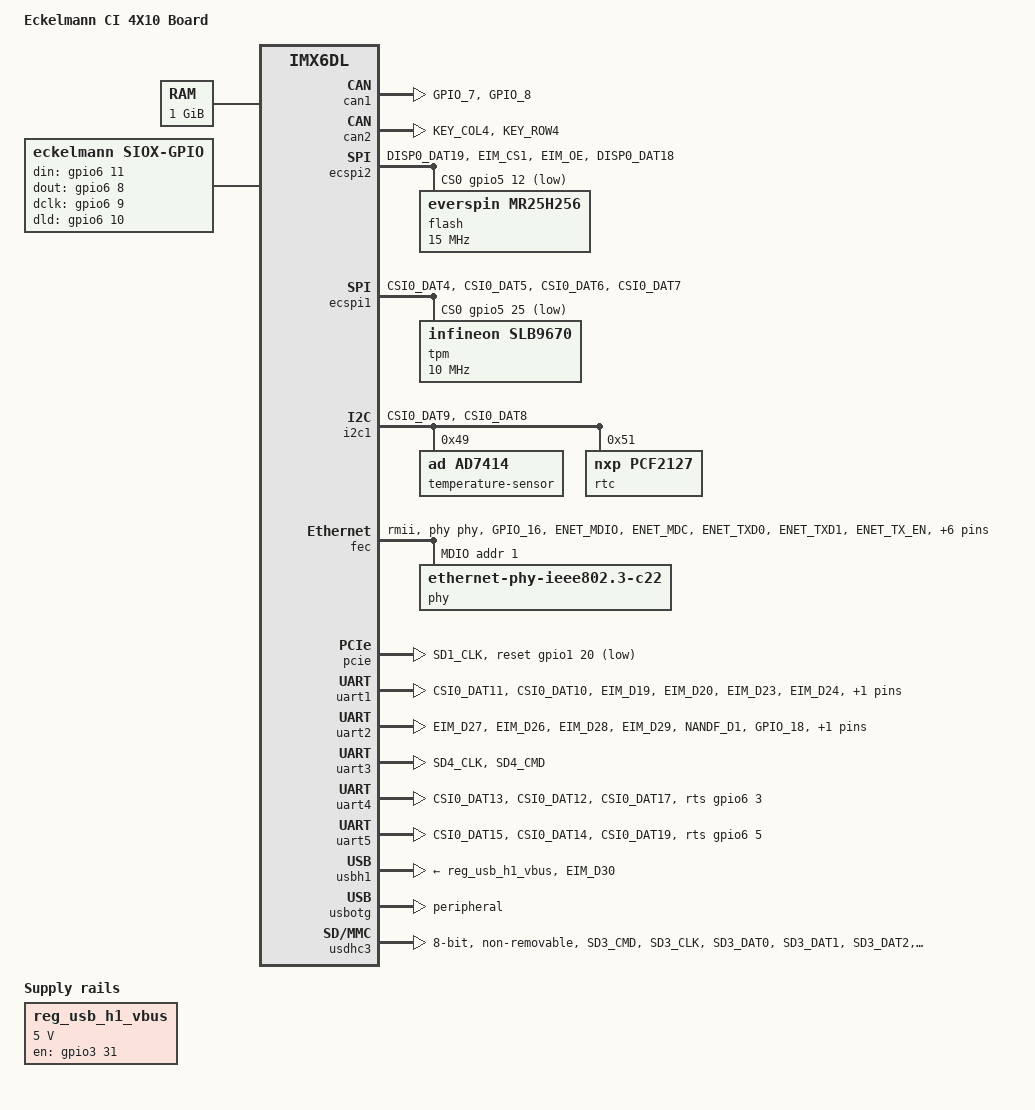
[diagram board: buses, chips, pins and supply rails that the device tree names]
// SPDX-License-Identifier: GPL-2.0
/*
 * Copyright (C) 2016 Eckelmann AG.
 * Copyright (C) 2013 Freescale Semiconductor, Inc.
 */

/dts-v1/;

#include <dt-bindings/gpio/gpio.h>

#include "imx6dl.dtsi"

/ {
	model = "Eckelmann CI 4X10 Board";
	compatible = "eckelmann,imx6dl-ci4x10", "fsl,imx6dl";

	chosen {
		stdout-path = &uart3;
	};

	memory@10000000 {
		device_type = "memory";
		reg = <0x10000000 0x40000000>;
	};

	rmii_clk: clock-rmii {
		/* This clock is provided by the phy (KSZ8091RNB) */
		compatible = "fixed-clock";
		#clock-cells = <0>;
		clock-frequency = <50000000>;
		clock-output-names = "enet_ref_pad";
	};

	reg_usb_h1_vbus: regulator-usb-h1-vbus {
		pinctrl-names = "default";
		pinctrl-0 = <&pinctrl_reg_usb_h1_vbus>;
		compatible = "regulator-fixed";
		regulator-name = "usb_h1_vbus";
		regulator-min-microvolt = <5000000>;
		regulator-max-microvolt = <5000000>;
		gpio = <&gpio3 31 GPIO_ACTIVE_HIGH>;
		enable-active-high;
	};

	siox {
		compatible = "eckelmann,siox-gpio";
		pinctrl-names = "default";
		pinctrl-0 = <&pinctrl_siox>;
		din-gpios = <&gpio6 11 GPIO_ACTIVE_HIGH>;
		dout-gpios = <&gpio6 8 GPIO_ACTIVE_HIGH>;
		dclk-gpios = <&gpio6 9 GPIO_ACTIVE_HIGH>;
		dld-gpios = <&gpio6 10 GPIO_ACTIVE_HIGH>;
	};
};

&can1 {
	pinctrl-names = "default";
	pinctrl-0 = <&pinctrl_flexcan1>;
	status = "okay";
};

&can2 {
	pinctrl-names = "default";
	pinctrl-0 = <&pinctrl_flexcan2>;
	status = "okay";
};

&clks {
	clocks = <&rmii_clk>;
	clock-names = "enet_ref_pad";
	assigned-clocks = <&clks IMX6QDL_CLK_ENET_REF_SEL>;
	assigned-clock-parents = <&rmii_clk>;
};

&ecspi2 {
	pinctrl-names = "default";
	pinctrl-0 = <&pinctrl_ecspi2>;
	cs-gpios = <&gpio5 12 GPIO_ACTIVE_LOW>;
	status = "okay";

	flash@0 {
		compatible = "everspin,mr25h256";
		reg = <0>;
		spi-max-frequency = <15000000>;
	};
};

&ecspi1 {
	pinctrl-names = "default";
	pinctrl-0 = <&pinctrl_ecspi1>;
	cs-gpios = <&gpio5 25 GPIO_ACTIVE_LOW>;
	status = "okay";

	tpm@0 {
		compatible = "infineon,slb9670", "tcg,tpm_tis-spi";
		reg = <0>;
		spi-max-frequency = <10000000>;
	};
};

&gpio2 {
	gpio-line-names = "buzzer", "", "", "", "", "", "", "",
			  "", "", "", "", "", "", "", "",
			  "", "", "", "", "", "", "", "",
			  "", "", "", "", "", "", "", "";
};

&gpio4 {
	gpio-line-names = "", "", "", "", "", "", "", "in2",
			  "prio2", "prio1", "aux", "", "", "", "", "",
			  "", "", "", "", "", "", "", "",
			  "", "", "", "", "", "", "", "";
};

&gpio6 {
	gpio-line-names = "", "", "", "", "", "", "", "",
			  "", "", "", "", "", "", "", "in1",
			  "", "", "", "", "", "", "", "",
			  "", "", "", "", "", "", "", "";
};

&i2c1 {
	pinctrl-names = "default";
	pinctrl-0 = <&pinctrl_i2c1>;
	status = "okay";

	temperature-sensor@49 {
		compatible = "ad,ad7414";
		reg = <0x49>;
	};

	rtc@51 {
		compatible = "nxp,pcf2127";
		reg = <0x51>;
	};
};

&iomuxc {
	pinctrl-names = "default";
	pinctrl-0 = <&pinctrl_hog>;

	pinctrl_hog: hog {
		fsl,pins = <
			MX6QDL_PAD_NANDF_D0__GPIO2_IO00		0x00000018 /* buzzer */
			MX6QDL_PAD_KEY_COL1__GPIO4_IO08		0x00000018 /* OUT_1 */
			MX6QDL_PAD_KEY_ROW1__GPIO4_IO09		0x00000018 /* OUT_2 */
			MX6QDL_PAD_KEY_COL2__GPIO4_IO10		0x00000018 /* OUT_3 */
			MX6QDL_PAD_NANDF_CS2__GPIO6_IO15	0x00000000 /* In1 */
			MX6QDL_PAD_KEY_ROW0__GPIO4_IO07		0x00000000 /* In2 */
			MX6QDL_PAD_GPIO_9__GPIO1_IO09		0x00000018 /* unused watchdog pin */
			MX6QDL_PAD_SD1_DAT2__GPIO1_IO19		0x00000018 /* unused watchdog pin */

		>;
	};

	pinctrl_ecspi1: ecspi1grp {
		fsl,pins = <
			MX6QDL_PAD_CSI0_DAT4__ECSPI1_SCLK 	0x000100a0
			MX6QDL_PAD_CSI0_DAT5__ECSPI1_MOSI	0x000100a0
			MX6QDL_PAD_CSI0_DAT6__ECSPI1_MISO	0x000100a0
			MX6QDL_PAD_CSI0_DAT7__GPIO5_IO25	0x000100a0
		>;
	};

	pinctrl_ecspi2: ecspi2grp {
		fsl,pins = <
			MX6QDL_PAD_DISP0_DAT19__ECSPI2_SCLK	0x000100b1
			MX6QDL_PAD_EIM_CS1__ECSPI2_MOSI		0x000100b1
			MX6QDL_PAD_EIM_OE__ECSPI2_MISO		0x000100b1
			MX6QDL_PAD_DISP0_DAT18__GPIO5_IO12	0x000100b1
		>;
	};

	pinctrl_enet: enetgrp {
		fsl,pins = <
			MX6QDL_PAD_GPIO_16__ENET_REF_CLK	0x4001b0a8
			MX6QDL_PAD_ENET_MDIO__ENET_MDIO		0x0001b098
			MX6QDL_PAD_ENET_MDC__ENET_MDC		0x0001b098
			MX6QDL_PAD_ENET_TXD0__ENET_TX_DATA0	0x0001b098
			MX6QDL_PAD_ENET_TXD1__ENET_TX_DATA1	0x0001b098
			MX6QDL_PAD_ENET_TX_EN__ENET_TX_EN	0x0001b098
			MX6QDL_PAD_ENET_RX_ER__ENET_RX_ER	0x0001b0b0
			MX6QDL_PAD_ENET_RXD0__ENET_RX_DATA0	0x0001b0b0
			MX6QDL_PAD_ENET_RXD1__ENET_RX_DATA1	0x0001b0b0
			MX6QDL_PAD_ENET_CRS_DV__ENET_RX_EN	0x0001b0b0
			MX6QDL_PAD_SD1_CMD__GPIO1_IO18		0x00000018
		>;
	};

	pinctrl_flexcan1: flexcan1grp {
		fsl,pins = <
			MX6QDL_PAD_GPIO_7__FLEXCAN1_TX		0x0001b020
			MX6QDL_PAD_GPIO_8__FLEXCAN1_RX		0x0001b0b0
		>;
	};

	pinctrl_flexcan2: flexcan2grp {
		fsl,pins = <
			MX6QDL_PAD_KEY_COL4__FLEXCAN2_TX	0x0001b020
			MX6QDL_PAD_KEY_ROW4__FLEXCAN2_RX	0x0001b0b0
		>;
	};

	pinctrl_i2c1: i2c1grp {
		fsl,pins = <
			/* without SION i2c doesn't detect bus busy */
			MX6QDL_PAD_CSI0_DAT9__I2C1_SCL		0x4001b820
			MX6QDL_PAD_CSI0_DAT8__I2C1_SDA		0x4001b820
		>;
	};

	pinctrl_pcie: pciegrp {
		fsl,pins = <
			MX6QDL_PAD_SD1_CLK__GPIO1_IO20		0x00000018
		>;
	};

	pinctrl_reg_usb_h1_vbus: reg_usb_h1_vbusgrp {
		fsl,pins = <
			MX6QDL_PAD_EIM_D31__GPIO3_IO31		0x0001b0b0
		>;
	};

	pinctrl_siox: sioxgrp {
		fsl,pins = <
			MX6QDL_PAD_NANDF_CS0__GPIO6_IO11	0x0001b010	/* DIN */
			MX6QDL_PAD_NANDF_ALE__GPIO6_IO08	0x0001b010	/* DOUT */
			MX6QDL_PAD_NANDF_WP_B__GPIO6_IO09	0x0001b010	/* DCLK */
			MX6QDL_PAD_NANDF_RB0__GPIO6_IO10	0x0001b010	/* DLD */
		>;
	};

	pinctrl_uart1_dte: uart1grp {
		fsl,pins = <
			MX6QDL_PAD_CSI0_DAT11__UART1_TX_DATA	0x0001b010
			MX6QDL_PAD_CSI0_DAT10__UART1_RX_DATA	0x0001b010
			MX6QDL_PAD_EIM_D19__UART1_RTS_B 	0x0001b010
			MX6QDL_PAD_EIM_D20__UART1_CTS_B 	0x0001b010
			MX6QDL_PAD_EIM_D23__GPIO3_IO23		0x0001b010	/* DCD */
			MX6QDL_PAD_EIM_D24__GPIO3_IO24		0x0001b010	/* DTR */
			MX6QDL_PAD_EIM_D25__GPIO3_IO25		0x0001b010	/* DSR */
		>;
	};

	pinctrl_uart2_dte: uart2grp {
		fsl,pins = <
			MX6QDL_PAD_EIM_D27__UART2_TX_DATA	0x0001b010
			MX6QDL_PAD_EIM_D26__UART2_RX_DATA	0x0001b010
			MX6QDL_PAD_EIM_D28__UART2_RTS_B 	0x0001b010
			MX6QDL_PAD_EIM_D29__UART2_CTS_B 	0x0001b010
			MX6QDL_PAD_NANDF_D1__GPIO2_IO01		0x0001b010	/* DCD */
			MX6QDL_PAD_GPIO_18__GPIO7_IO13		0x0001b010	/* DTR */
			MX6QDL_PAD_NANDF_CS3__GPIO6_IO16	0x0001b010	/* DSR */
		>;
	};

	pinctrl_uart3_dce: uart3grp {
		fsl,pins = <
			MX6QDL_PAD_SD4_CLK__UART3_RX_DATA	0x0001b010
			MX6QDL_PAD_SD4_CMD__UART3_TX_DATA	0x0001b010
		>;
	};

	pinctrl_uart4_dce: uart4grp {
		fsl,pins = <
			MX6QDL_PAD_CSI0_DAT13__UART4_RX_DATA	0x0001b010
			MX6QDL_PAD_CSI0_DAT12__UART4_TX_DATA	0x0001b010
			MX6QDL_PAD_CSI0_DAT17__GPIO6_IO03	0x0001b010
		>;
	};

	pinctrl_uart5_dce: uart5grp {
		fsl,pins = <
			MX6QDL_PAD_CSI0_DAT15__UART5_RX_DATA	0x0001b010
			MX6QDL_PAD_CSI0_DAT14__UART5_TX_DATA	0x0001b010
			MX6QDL_PAD_CSI0_DAT19__GPIO6_IO05	0x0001b010	/* RTS */
		>;
	};

	pinctrl_usbh1: usbh1grp {
		fsl,pins = <
			MX6QDL_PAD_EIM_D30__USB_H1_OC		0x0001b0b0
		>;
	};

	pinctrl_usdhc3: usdhc3grp {
		fsl,pins = <
			MX6QDL_PAD_SD3_CMD__SD3_CMD		0x00017059
			MX6QDL_PAD_SD3_CLK__SD3_CLK		0x00010059
			MX6QDL_PAD_SD3_DAT0__SD3_DATA0		0x00017059
			MX6QDL_PAD_SD3_DAT1__SD3_DATA1		0x00017059
			MX6QDL_PAD_SD3_DAT2__SD3_DATA2		0x00017059
			MX6QDL_PAD_SD3_DAT3__SD3_DATA3		0x00017059
			MX6QDL_PAD_SD3_DAT4__SD3_DATA4		0x00017059
			MX6QDL_PAD_SD3_DAT5__SD3_DATA5		0x00017059
			MX6QDL_PAD_SD3_DAT6__SD3_DATA6		0x00017059
			MX6QDL_PAD_SD3_DAT7__SD3_DATA7		0x00017059
		>;
	};
};

&fec {
	pinctrl-names = "default";
	pinctrl-0 = <&pinctrl_enet>;
	phy-mode = "rmii";
	phy-reset-gpios = <&gpio1 18 GPIO_ACTIVE_LOW>;
	phy-handle = <&phy>;
	status = "okay";

	mdio {
		#address-cells = <1>;
		#size-cells = <0>;

		phy: ethernet-phy@1 {
			compatible = "ethernet-phy-ieee802.3-c22";
			reg = <1>;
		};
	};
};

&pcie {
	pinctrl-names = "default";
	pinctrl-0 = <&pinctrl_pcie>;
	reset-gpio = <&gpio1 20 GPIO_ACTIVE_LOW>;
	status = "okay";
};

&uart1 {
	pinctrl-names = "default";
	pinctrl-0 = <&pinctrl_uart1_dte>;
	uart-has-rtscts;
	fsl,dte-mode;
	dcd-gpios = <&gpio3 23 GPIO_ACTIVE_LOW>;
	dtr-gpios = <&gpio3 24 GPIO_ACTIVE_LOW>;
	dsr-gpios = <&gpio3 25 GPIO_ACTIVE_LOW>;
	status = "okay";
};

&uart2 {
	pinctrl-names = "default";
	pinctrl-0 = <&pinctrl_uart2_dte>;
	uart-has-rtscts;
	fsl,dte-mode;
	dcd-gpios = <&gpio2 1 GPIO_ACTIVE_LOW>;
	dtr-gpios = <&gpio7 13 GPIO_ACTIVE_LOW>;
	dsr-gpios = <&gpio6 16 GPIO_ACTIVE_LOW>;
	status = "okay";
};

&uart3 {
	pinctrl-names = "default";
	pinctrl-0 = <&pinctrl_uart3_dce>;
	status = "okay";
};

&uart4 {
	pinctrl-names = "default";
	pinctrl-0 = <&pinctrl_uart4_dce>;
	rts-gpios = <&gpio6 3 GPIO_ACTIVE_HIGH>;
	status = "okay";
};

&uart5 {
	pinctrl-names = "default";
	pinctrl-0 = <&pinctrl_uart5_dce>;
	rts-gpios = <&gpio6 5 GPIO_ACTIVE_HIGH>;
	status = "okay";
};

&usbh1 {
	pinctrl-names = "default";
	pinctrl-0 = <&pinctrl_usbh1>;
	vbus-supply = <&reg_usb_h1_vbus>;
	status = "okay";
};

&usbotg {
	dr_mode = "peripheral";
	status = "okay";
};

&usdhc3 {
	pinctrl-names = "default";
	pinctrl-0 = <&pinctrl_usdhc3>;
	bus-width = <8>;
	non-removable;
	status = "okay";
};
